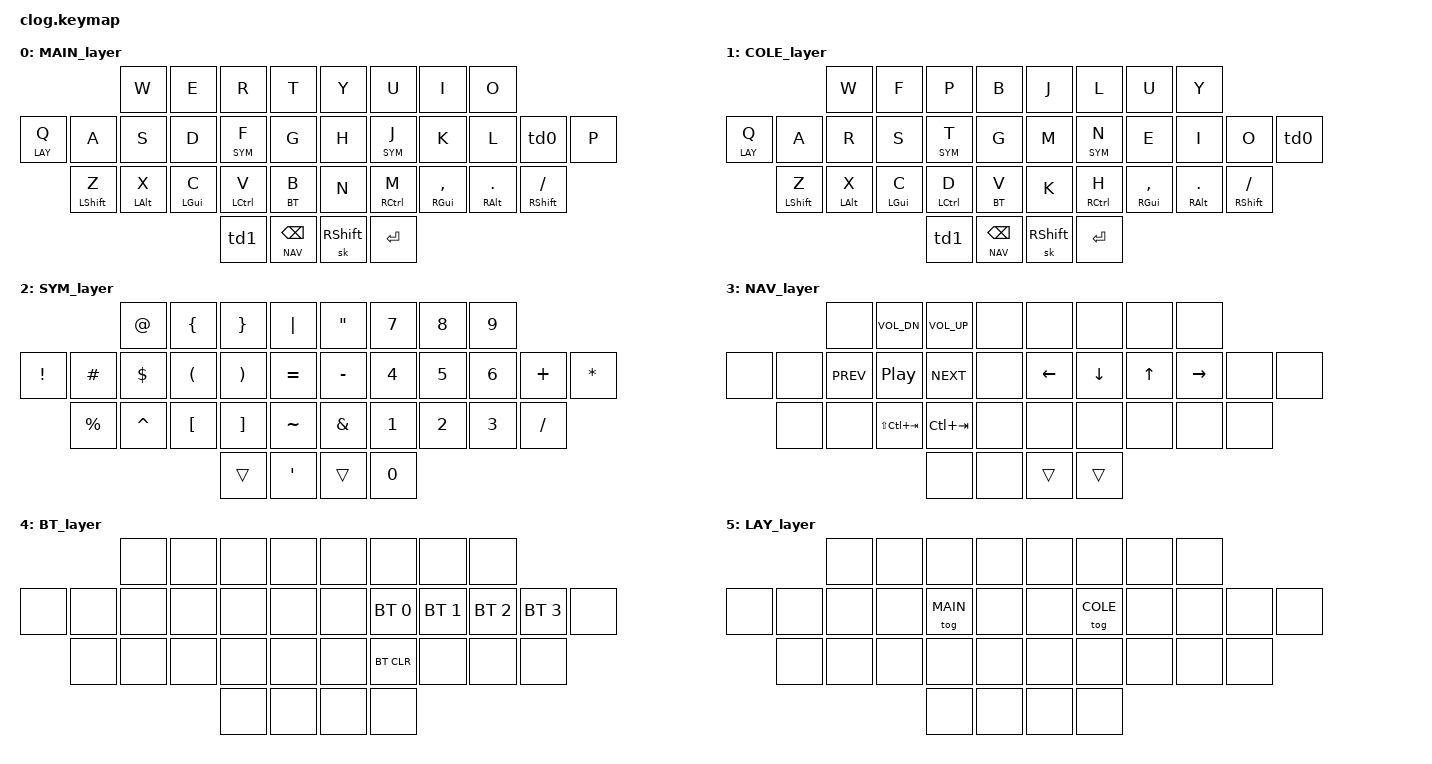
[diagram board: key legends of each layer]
/*
* Copyright (c) 2022 The ZMK Contributors
*
* SPDX-License-Identifier: MIT
*/

#include <behaviors.dtsi>
#include <dt-bindings/zmk/keys.h>
#include <dt-bindings/zmk/bt.h>

#define MAIN 0
#define COLE 1
#define SYM 2
#define NAV 3
#define BT 4
#define LAY 5

&mt {
    flavor = "tap-preferred";
    tapping_term_ms = <150>;
};

/ {
  	behaviors {
		td0: tap_dance_0 {
			compatible = "zmk,behavior-tap-dance";
			label = "TAP_DANCE_0";
			#binding-cells = <0>;
			tapping-term-ms = <200>;
			bindings = <&kp SEMI>, <&kp COLON>;
		};

		td1: tap_dance_1 {
			compatible = "zmk,behavior-tap-dance";
			label = "TAP_DANCE_1";
			#binding-cells = <0>;
			tapping-term-ms = <200>;
			bindings = <&kp SPACE>, <&kp UNDER>;
		};
	};

    combos {
        compatible = "zmk,combos";

        combo_esc {
            timeout-ms = <100>;
            key-positions = <21 22>; // x + c
            bindings = <&kp ESC>;
        };

        combo_tab {
            timeout-ms = <100>;
            key-positions = <22 23>; // c + v
            bindings = <&kp TAB>;
        };

        combo_backslash {
            timeout-ms = <100>;
            key-positions = <27 28>; // , + .
            bindings = <&kp BSLH>;
        };

        combo_grave {
            timeout-ms = <100>;
            key-positions = <8 9>; // q + a
            bindings = <&kp GRAVE>;
        };
    };

    keymap {
        compatible = "zmk,keymap";

        MAIN_layer {
            bindings = <
                            &kp W      &kp E       &kp R        &kp T            	&kp Y     &kp U      &kp I           &kp O
          &lt LAY Q &kp A       &kp S      &kp D       &lt SYM F    &kp G            	&kp H     &lt SYM J  &kp K           &kp L        &td0 &kp P
                &mt LSHFT Z &mt LALT X &mt LGUI C &mt LCTRL V   &lt BT B            &kp N     &mt RCTRL M &mt RGUI COMMA &mt RALT DOT &mt RSHFT FSLH
                                                   &td1   	    &lt NAV BSPC     &sk RSHFT &kp ENTER 
            >;
        };
		
        COLE_layer {
            bindings = <
                            &kp W      &kp F       &kp P        &kp B            	&kp J     &kp L      &kp U           &kp Y
          &lt LAY Q &kp A       &kp R      &kp S       &lt SYM T    &kp G            	&kp M     &lt SYM N  &kp E           &kp I        &kp O &td0
                &mt LSHFT Z &mt LALT X &mt LGUI C &mt LCTRL D   &lt BT V            &kp K     &mt RCTRL H &mt RGUI COMMA &mt RALT DOT &mt RSHFT FSLH
                                                   &td1   	    &lt NAV BSPC     &sk RSHFT &kp ENTER 
            >;
        };

        SYM_layer {
            bindings = <
                          &kp AT    &kp LBRC &kp RBRC &kp PIPE     &kp DQT   &kp N7 &kp N8 &kp N9 
       &kp EXCL &kp HASH  &kp DLLR  &kp LPAR &kp RPAR &kp EQUAL    &kp MINUS &kp N4 &kp N5 &kp N6 &kp PLUS &kp STAR
                &kp PRCNT &kp CARET &kp LBKT &kp RBKT &kp TILDE    &kp AMPS  &kp N1 &kp N2 &kp N3 &kp FSLH
                                        	 &trans   &kp SQT	   &trans    &kp N0
            >;
        };

        NAV_layer {
            bindings = <
                           &none 		&kp C_VOL_DN    &kp C_VOL_UP &none 		 	 	&none     &none     &none  &none
     	&none 	&none      &kp C_PREV   &kp C_PP        &kp C_NEXT   &none              &kp LEFT  &kp DOWN  &kp UP &kp RIGHT &none &none
                &none      &none 		&kp LS(LC(TAB)) &kp LC(TAB)  &none 		     	&none 	  &none     &none  &none     &none
                                                        &none        &none              &trans    &trans
            >;
        };

        BT_layer {
            bindings = <
                      &none &none &none &none    &none &none        &none        &none
          &none &none &none &none &none &none    &none &bt BT_SEL 0 &bt BT_SEL 1 &bt BT_SEL 2 &bt BT_SEL 3 &none
                &none &none &none &none &none    &none &bt BT_CLR   &none        &none        &none
                                  &none &none    &none &none
            >;
        };

		LAY_layer {
            bindings = <
                      &none &none &none    &none    &none &none    &none &none
          &none &none &none &none &tog MAIN &none   &none &tog COLE &none &none &none &none
                &none &none &none &none    &none    &none &none    &none &none &none
                                  &none    &none    &none &none
            >;
        };

    };
};
